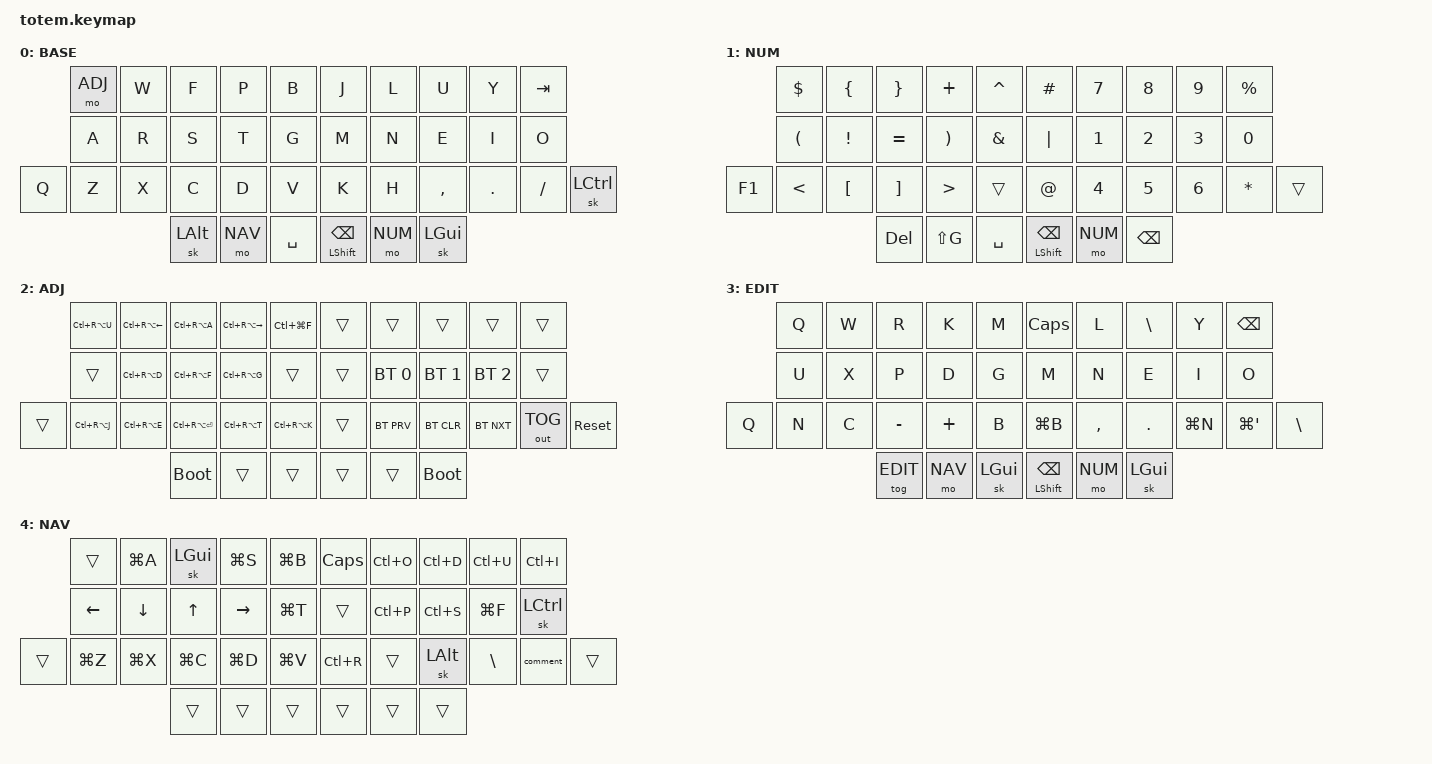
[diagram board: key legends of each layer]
//
//                                                        ▀▀▀▀▀     ▀▀▀▀▀          ▀▀█▀▀
//                                                        ▄▀▀▀▄  ▄  ▄▀▀▀▄  ▄  ▄▀▀▀▄  █  ▄▀▀▀▄
//                                                        █   █  █  █   █  █  █   █  █  █   █
//                                                         ▀▀▀   █   ▀▀▀   █   ▀▀▀   ▀   ▀▀▀
//                                                               █      ▄▄▄█▄▄▄    █   █  
//                                                               ▀      █  █  █     █▄█
//                                                             ▀▀▀▀▀    █  █  █      ▀
//                                                                      ▀  ▀  ▀
//
// ▄▄▄▄▄▄▄▄▄▄▄▄▄▄▄▄▄▄▄▄▄▄▄▄▄▄▄▄▄▄▄▄▄▄▄▄▄▄▄▄▄▄▄▄▄▄▄▄▄▄▄▄▄▄▄▄▄▄▄▄▄▄▄▄▄▄▄▄▄▄▄▄▄▄▄▄▄▄▄▄▄▄▄▄▄▄▄▄▄▄▄▄▄▄▄▄▄▄▄▄▄▄▄▄▄▄▄▄▄▄▄▄▄▄▄▄▄▄▄▄▄▄▄▄▄▄▄▄▄▄▄▄▄▄▄▄▄▄▄▄▄▄▄▄▄▄▄▄▄
       

#include <behaviors.dtsi>
#include <dt-bindings/zmk/keys.h>
#include <dt-bindings/zmk/bt.h>
#include <dt-bindings/zmk/outputs.h>

#define BASE 0
#define NUM  1
#define ADJ  2
#define EDIT 3
#define NAV  4

#define ________ &trans

#define TAPPING_TERM 148
#define QUICK_TAP    150


&lt {
	flavor = "hold-preferred";
	tapping-term-ms = <TAPPING_TERM>;
	quick-tap-ms = <QUICK_TAP>;
};

&mt {
	flavor = "balanced";
	tapping-term-ms = <TAPPING_TERM>;
	quick-tap-ms = <QUICK_TAP>;
};

&caps_word {
	continue-list = <UNDER MINUS BSPC RSHFT LSHFT>;
};

/ {
	behaviors {
		gresc: grave_escape {
			label = "grave_escape";
			compatible = "zmk,behavior-mod-morph";
			#binding-cells = <0>;
			mods = <(MOD_LGUI|MOD_RGUI)>;
			bindings = <&kp ESC>, <&kp GRAVE>;
		};
		ht: hold_tap {
			label = "hold_tap";
			compatible = "zmk,behavior-hold-tap";
			#binding-cells = <2>;
			flavor = "tap-preferred";
			tapping-term-ms = <TAPPING_TERM>;
			quick-tap-ms = <QUICK_TAP>;
			global-quick-tap;
			bindings = <&kp>, <&kp>;
		};
		lht: left_positional_hold_tap {
			label = "left_positional_hold_tap";
			compatible = "zmk,behavior-hold-tap";
			#binding-cells = <2>;
			flavor = "tap-preferred";
			tapping-term-ms = <TAPPING_TERM>;
			quick-tap-ms = <QUICK_TAP>;
			bindings = <&kp>, <&kp>;
			hold-trigger-key-positions = <
							5  6  7  8  9
			10 11 12 13    15 16 17 18 19
						   25 26 27 28 29
				  30 31 32 33>;
		};
		rht: right_positional_hold_tap {
			label = "right_positional_hold_tap";
			compatible = "zmk,behavior-hold-tap";
			#binding-cells = <2>;
			flavor = "tap-preferred";
			tapping-term-ms = <TAPPING_TERM>;
			quick-tap-ms = <QUICK_TAP>;
			bindings = <&kp>, <&kp>;
			hold-trigger-key-positions = <
			 0  1  2  3  4
			10 11 12 13 14    16 17 18 19
			20 21 22 23 24
						30 31 32 33>;
		};
	};
};

#define MACRO(name, keys)             \
name: name##_macro {                  \
	label = #name;                    \
	compatible = "zmk,behavior-macro";\
	#binding-cells = <0>;             \
	tap-ms = <1>;                     \
	wait-ms = <1>;                    \
	bindings = <keys>;                \
};

/ {
	macros {
    MACRO(comment, &kp G &kp C)
		MACRO(vim_q,  &kp COLON &kp Q &kp EXCL &kp ENTER)
		MACRO(vim_s,  &kp COLON &kp W &kp Q &kp ENTER)
		MACRO(vim_w,  &kp ESC &kp COLON &kp W &kp ENTER)
    MACRO(vim_wa, &kp ESC &kp COLON &kp W &kp A &kp ENTER)
		MACRO(dir_up, &kp DOT &kp DOT &kp FSLH)
    MACRO(open_gitcommit, &kp SPACE &kp LC(G))
    MACRO(open_gitfile, &kp SPACE &kp LC(P))
    MACRO(lazy_git, &kp L &kp G &kp ENTER)
    MACRO(nvim, &kp N &kp V &kp ENTER)
 };
};

#define COMBO(name, keypress, keypos) \
combo_##name {                        \
	timeout-ms = <40>;                \
	bindings = <keypress>;            \
	key-positions = <keypos>;         \
};
/* Combo key positions
    0  1  2  3  4         5  6  7  8  9
   10 11 12 13 14        15 16 17 18 19
20 21 22 23 24 25        26 27 28 29 30 31
			   32 33 34        35 36 37            */

/ {
	combos {
		compatible = "zmk,combos";
		//gaming
		// COMBO(tog_gaming, &tog GAME, 0 9)
		// horizontal
		// // main 
		COMBO(esc, &kp ESC, 10 11)
		COMBO(terminal_esc, &kp LC(C), 11 12)
		COMBO(enter, &kp ENTER, 12 13)
    COMBO(albert, &kp LG(SPACE), 16 17)
    COMBO(tmux, &kp LC(B), 17 18)
    COMBO(control, &sk LCTRL, 18 19)
    // // top
    COMBO(vim_savequit,  &vim_s,  0 1)
    COMBO(vim_saveall,  &vim_wa,  1 2)
		COMBO(nvim, &nvim, 6 7)
		COMBO(lazy_git, &lazy_git,  7 8)
		COMBO(unsuggest, &kp LC(E), 8 9)
    // // bottom
    COMBO(vim_quit,  &vim_q,  21 22)
    COMBO(cd_downward, &dir_up, 23 24)
    COMBO(Tilde, &kp TILDE, 27 28)
    COMBO(grave, &kp GRAVE, 28 29)
    COMBO(open_gitcommit, &open_gitcommit, 29 30)
    COMBO(open_gitfile, &open_gitfile, 30 31)
    // // bottom
    // vertical left
    COMBO(vol_up, &kp C_VOL_UP,  0 10)
		COMBO(vol_dn, &kp C_VOL_DN, 10 21)
		COMBO(singlequote, &kp SQT, 1 11)
		COMBO(doublequote, &kp DQT, 11 22)
		COMBO(colon, &kp COLON, 2 12)
		COMBO(semicolon, &kp SEMI, 12 23)
		COMBO(minus, &kp MINUS, 3 13)
		COMBO(underscore, &kp UNDER, 13 24)
		// vertical right
		COMBO(brightness_up, &kp C_BRIGHTNESS_INC, 9 19)
		COMBO(brighness_down, &kp C_BRIGHTNESS_DEC, 19 30)
		COMBO(next, &kp C_NEXT, 8 18)
		COMBO(play, &kp C_PLAY, 7 17)
		COMBO(prev, &kp C_PREV, 6 16)
		// UNUSED COMBO(, , 18 29)	
		//TODO capsword
	};
};

// IDEAS ______________
// Return (enter) on thumb cluster?
// Pageup/pagedown on nav?
// Nice bluetooth page

/ {
  keymap {
  compatible = "zmk,keymap";
// ▄▄▄▄▄▄▄▄▄▄▄▄▄▄▄▄▄▄▄▄▄▄▄▄▄▄▄▄▄▄▄▄▄▄▄▄▄▄▄▄▄▄▄▄▄▄▄▄▄▄▄▄▄▄▄▄▄▄▄▄▄▄▄▄▄▄▄▄▄▄▄▄▄▄▄▄▄▄▄▄▄▄▄▄▄▄▄▄▄▄▄▄▄▄▄▄▄▄▄▄▄▄▄▄▄▄▄▄▄▄▄▄▄▄▄▄▄▄▄▄▄▄▄▄▄▄▄▄▄▄▄▄▄▄▄▄▄▄▄▄▄▄▄▄▄▄▄▄▄

                base_layer {
 label= "BASE";
 bindings = <
 //           ╭──────────┬──────────┬──────────┬──────────┬──────────╮   ╭──────────┬──────────┬──────────┬──────────┬──────────╮
                &mo ADJ      &kp W      &kp F      &kp P      &kp B          &kp J       &kp L      &kp U      &kp Y      &kp TAB
 //           ├──────────┼──────────┼──────────┼──────────┼──────────┤   ├──────────┼──────────┼──────────┼──────────┼──────────┤
                &kp A      &kp R      &kp S      &kp T      &kp G          &kp M       &kp N        &kp E      &kp I     &kp O
 //           ├──────────┼──────────┼──────────┼──────────┼──────────┤   ├──────────┼──────────┼──────────┼──────────┼──────────┤
      &kp Q   &kp Z      &kp X      &kp C      &kp D      &kp V          &kp K       &kp H     &kp COMMA   &kp DOT    &kp FSLH  &sk LCTRL
 //╰──────────┴──────────┴──────────┴──────────┼──────────┼──────────┤   ├──────────┼──────────┼──────────┴──────────┴──────────┴──────────╯
                                      &sk LALT    &mo NAV 	&kp SPACE   &mt LSHFT BSPC  &mo NUM   &sk LGUI
 //                                 ╰──────────┴──────────┴──────────╯   ╰──────────┴──────────┴──────────╯
                        >;
                };

// ▄▄▄▄▄▄▄▄▄▄▄▄▄▄▄▄▄▄▄▄▄▄▄▄▄▄▄▄▄▄▄▄▄▄▄▄▄▄▄▄▄▄▄▄▄▄▄▄▄▄▄▄▄▄▄▄▄▄▄▄▄▄▄▄▄▄▄▄▄▄▄▄▄▄▄▄▄▄▄▄▄▄▄▄▄▄▄▄▄▄▄▄▄▄▄▄▄▄▄▄▄▄▄▄▄▄▄▄▄▄▄▄▄▄▄▄▄▄▄▄▄▄▄▄▄▄▄▄▄▄▄▄▄▄▄▄▄▄▄▄▄▄▄▄▄▄▄▄▄


                num_layer {
 label= "NUM";
 bindings = <
 //           ╭──────────┬──────────┬──────────┬──────────┬──────────╮   ╭──────────┬──────────┬──────────┬──────────┬──────────╮
		            &kp DOLLAR   &kp LBRC  &kp RBRC    &kp PLUS  &kp CARET	   &kp POUND    &kp N7     &kp N8     &kp N9    &kp PERCENT
 //           ├──────────┼──────────┼──────────┼──────────┼──────────┤   ├──────────┼──────────┼──────────┼──────────┼──────────┤
          			&kp LPAR   &kp EXCL   &kp EQUAL   &kp RPAR   &kp AMPS       &kp PIPE    &kp N1     &kp N2     &kp N3     &kp N0
 //           ├──────────┼──────────┼──────────┼──────────┼──────────┤   ├──────────┼──────────┼──────────┼──────────┼──────────┤
		&kp F1    &kp LT    &kp LBKT   &kp RBKT    &kp GT    ________       &kp AT      &kp N4     &kp N5     &kp N6    &kp STAR   ________
 //╰──────────┴──────────┴──────────┴──────────┼──────────┼──────────┤   ├──────────┼──────────┼──────────┴──────────┴──────────┴──────────╯
                                      &kp DEL    &kp LS(G) 	&kp SPACE   &mt LSHFT BSPC  &mo NUM   &kp BSPC
 //                                 ╰──────────┴──────────┴──────────╯   ╰──────────┴──────────┴──────────╯
                      >;
                };

// ▄▄▄▄▄▄▄▄▄▄▄▄▄▄▄▄▄▄▄▄▄▄▄▄▄▄▄▄▄▄▄▄▄▄▄▄▄▄▄▄▄▄▄▄▄▄▄▄▄▄▄▄▄▄▄▄▄▄▄▄▄▄▄▄▄▄▄▄▄▄▄▄▄▄▄▄▄▄▄▄▄▄▄▄▄▄▄▄▄▄▄▄▄▄▄▄▄▄▄▄▄▄▄▄▄▄▄▄▄▄▄▄▄▄▄▄▄▄▄▄▄▄▄▄▄▄▄▄▄▄▄▄▄▄▄▄▄▄▄▄▄▄▄▄▄▄▄▄▄


                adjust_layer {
 label= "ADJ";
 bindings = <
 //           ╭──────────┬──────────┬──────────┬──────────┬──────────╮                  ╭──────────┬──────────┬──────────┬──────────┬──────────╮
&kp LC(RA(U))  &kp LC(RA(LEFT)) &kp LC(RA(A)) &kp LC(RA(RIGHT)) &kp LC(LG(F))           ________    ________    ________     ________   ________    
 //           ├──────────┼──────────┼──────────┼──────────┼──────────┤                  ├──────────┼──────────┼──────────┼──────────┼──────────┤
        ________  &kp LC(RA(D))    &kp LC(RA(F))   &kp LC(RA(G)) ________                   ________  &bt BT_SEL 0  &bt BT_SEL 1 &bt BT_SEL 2  ________ 
 //           ├──────────┼──────────┼──────────┼──────────┼──────────┤                  ├──────────┼──────────┼──────────┼──────────┼──────────┤
________ &kp LC(RA(J))  &kp LC(RA(E)) &kp LC(RA(RET)) &kp LC(RA(T)) &kp LC(RA(K))          ________  &bt BT_PRV   &bt BT_CLR  &bt BT_NXT &out OUT_TOG &sys_reset
 //╰──────────┴──────────┴──────────┴──────────┼──────────┼──────────┤                  ├──────────┼──────────┼──────────┴──────────┴──────────┴──────────╯
                                     &bootloader  ________    ________                      ________    ________   &bootloader      
 //                                 ╰──────────┴──────────┴──────────╯                  ╰──────────┴──────────┴──────────╯
                        >;
                };

// ▄▄▄▄▄▄▄▄▄▄▄▄▄▄▄▄▄▄▄▄▄▄▄▄▄▄▄▄▄▄▄▄▄▄▄▄▄▄▄▄▄▄▄▄▄▄▄▄▄▄▄▄▄▄▄▄▄▄▄▄▄▄▄▄▄▄▄▄▄▄▄▄▄▄▄▄▄▄▄▄▄▄▄▄▄▄▄▄▄▄▄▄▄▄▄▄▄▄▄▄▄▄▄▄▄▄▄▄▄▄▄▄▄▄▄▄▄▄▄▄▄▄▄▄▄▄▄▄▄▄▄▄▄▄▄▄▄▄▄▄▄▄▄▄▄▄▄▄▄
// ▄▄▄▄▄▄▄▄▄▄▄▄▄▄▄▄▄▄▄▄▄▄▄▄▄▄▄▄▄▄▄▄▄▄▄▄▄▄▄▄▄▄▄▄▄▄▄▄▄▄▄▄▄▄▄▄▄▄▄▄▄▄▄▄▄▄▄▄▄▄▄▄▄▄▄▄▄▄▄▄▄▄▄▄▄▄▄▄▄▄▄▄▄▄▄▄▄▄▄▄▄▄▄▄▄▄▄▄▄▄▄▄▄▄▄▄▄▄▄▄▄▄▄▄▄▄▄▄▄▄▄▄▄▄▄▄▄▄▄▄▄▄▄▄▄▄▄▄▄

                edit_layer {
 label= "EDIT";
 bindings = <
 //           ╭──────────┬──────────┬──────────┬──────────┬──────────╮   ╭──────────┬──────────┬──────────┬──────────┬──────────╮
                &kp Q     &kp W      &kp R      &kp K    &kp M             &kp CAPS       &kp L      &kp BSLH      &kp Y      &kp BSPC
 //           ├──────────┼──────────┼──────────┼──────────┼──────────┤   ├──────────┼──────────┼──────────┼──────────┼──────────┤
                &kp U      &kp X     &kp P       &kp D      &kp G          &kp M       &kp N        &kp E      &kp I     &kp O
 //           ├──────────┼──────────┼──────────┼──────────┼──────────┤   ├──────────┼──────────┼──────────┼──────────┼──────────┤
      &kp Q      &kp N      &kp C    &kp MINUS  &kp PLUS    &kp B          &kp LG(B)  &kp COMMA   &kp DOT  &kp LG(N)  &kp LG(SQT) &kp BSLH
 //╰──────────┴──────────┴──────────┴──────────┼──────────┼──────────┤   ├──────────┼──────────┼──────────┴──────────┴──────────┴──────────╯
                                      &tog EDIT    &mo NAV 	&sk LGUI      &mt LSHFT BSPC  &mo NUM   &sk LGUI
 //                                 ╰──────────┴──────────┴──────────╯                  ╰──────────┴──────────┴──────────╯
                        >;
                };

// ▄▄▄▄▄▄▄▄▄▄▄▄▄▄▄▄▄▄▄▄▄▄▄▄▄▄▄▄▄▄▄▄▄▄▄▄▄▄▄▄▄▄▄▄▄▄▄▄▄▄▄▄▄▄▄▄▄▄▄▄▄▄▄▄▄▄▄▄▄▄▄▄▄▄▄▄▄▄▄▄▄▄▄▄▄▄▄▄▄▄▄▄▄▄▄▄▄▄▄▄▄▄▄▄▄▄▄▄▄▄▄▄▄▄▄▄▄▄▄▄▄▄▄▄▄▄▄▄▄▄▄▄▄▄▄▄▄▄▄▄▄▄▄▄▄▄▄▄▄
 
                nav_layer {
 label= "NAV";
 bindings = <
 //           ╭──────────┬──────────┬──────────┬──────────┬──────────╮   ╭──────────┬──────────┬──────────┬──────────┬──────────╮
         	      ________  &kp LG(A)  &sk LGUI   &kp LG(S)  &kp LG(B)      &kp CAPS   &kp LC(O)  &kp LC(D)  &kp LC(U)   &kp LC(I)
 //           ├──────────┼──────────┼──────────┼──────────┼──────────┤   ├──────────┼──────────┼──────────┼──────────┼──────────┤
 		            &kp LEFT   &kp DOWN    &kp UP    &kp RIGHT  &kp LG(T)      ________   &kp LC(P) &kp LC(S)    &kp LG(F)  &sk LCTRL
 //           ├──────────┼──────────┼──────────┼──────────┼──────────┤   ├──────────┼──────────┼──────────┼──────────┼──────────┤
		________   &kp LG(Z)   &kp LG(X)  &kp LG(C)  &kp LG(D)   &kp LG(V)     &kp LC(R)  ________   &sk LALT   &kp BSLH   &comment ________ 
 //╰──────────┴──────────┴──────────┴──────────┼──────────┼──────────┤   ├──────────┼──────────┼──────────┴──────────┴──────────┴──────────╯
				                             ________     ________   ________       ________  ________   ________
 //                                 ╰──────────┴──────────┴──────────╯   ╰──────────┴──────────┴──────────╯
                        >;
                };

// ▄▄▄▄▄▄▄▄▄▄▄▄▄▄▄▄▄▄▄▄▄▄▄▄▄▄▄▄▄▄▄▄▄▄▄▄▄▄▄▄▄▄▄▄▄▄▄▄▄▄▄▄▄▄▄▄▄▄▄▄▄▄▄▄▄▄▄▄▄▄▄▄▄▄▄▄▄▄▄▄▄▄▄▄▄▄▄▄▄▄▄▄▄▄▄▄▄▄▄▄▄▄▄▄▄▄▄▄▄▄▄▄▄▄▄▄▄▄▄▄▄▄▄▄▄▄▄▄▄▄▄▄▄▄▄▄▄▄▄▄▄▄▄▄▄▄▄▄▄
        };
};
